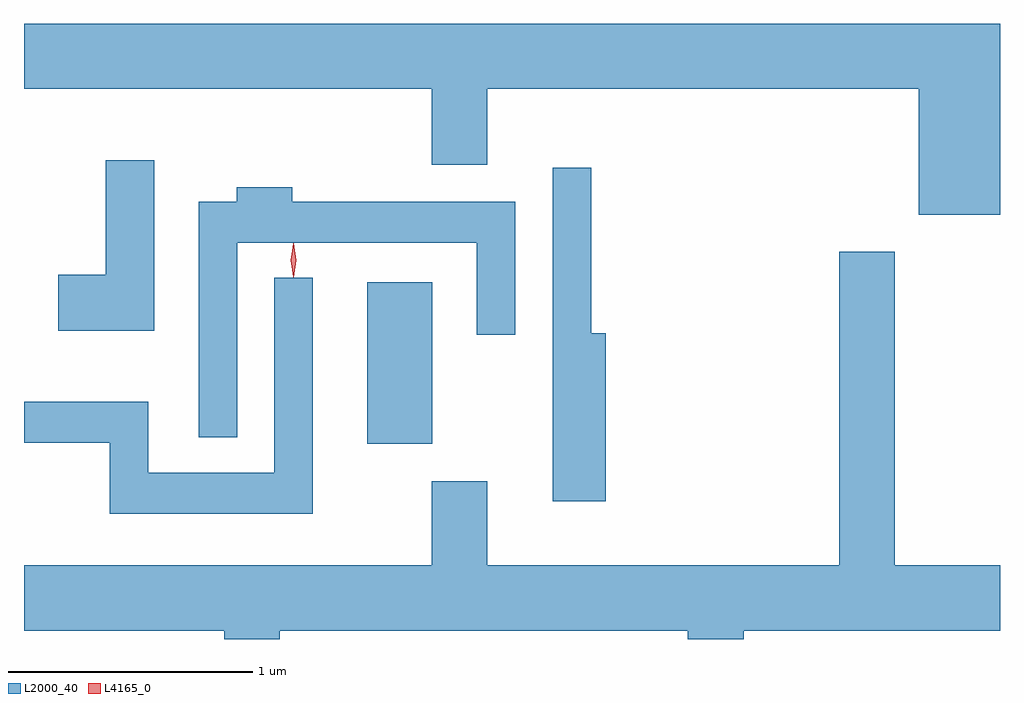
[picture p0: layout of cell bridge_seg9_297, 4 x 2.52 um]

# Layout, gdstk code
import gdstk
lib = gdstk.Library(unit=1e-6, precision=1e-09)
def R(c, l, rs):  # rectangles x0, y0, x1, y1
    for r in rs: c.add(gdstk.rectangle(r[:2], r[2:], *l))
def P(c, l, *ps):  # polygons
    for p in ps: c.add(gdstk.Polygon(p, *l))
L2000_40 = (2000, 40)
L4165_0 = (4165, 0)

bridge_seg9_297 = lib.new_cell('bridge_seg9_297')
R(bridge_seg9_297, L2000_40, [(1018.526,2074.721,1018.794,2075.384)])
P(bridge_seg9_297, L2000_40, [(1021.12,2076.444),(1017.12,2076.444),(1017.12,2076.176),(1018.791,2076.176),(1018.791,2075.866),(1019.019,2075.866),(1019.019,2076.176),(1020.786,2076.176),(1020.786,2075.661),(1021.12,2075.661)],
  [(1017.654,2075.884),(1017.456,2075.884),(1017.456,2075.414),(1017.261,2075.414),(1017.261,2075.186),(1017.654,2075.186)],
  [(1019.504,2075.174),(1019.444,2075.174),(1019.444,2075.853),(1019.286,2075.853),(1019.286,2074.486),(1019.504,2074.486)],
  [(1017.994,2075.546),(1018.976,2075.546),(1018.976,2075.168),(1019.134,2075.168),(1019.134,2075.714),(1018.219,2075.714),(1018.219,2075.774),(1017.991,2075.774),(1017.991,2075.714),(1017.836,2075.714),(1017.836,2074.748),(1017.994,2074.748)],
  [(1018.169,2073.956),(1019.841,2073.956),(1019.841,2073.92),(1020.069,2073.92),(1020.069,2073.956),(1021.12,2073.956),(1021.12,2074.224),(1020.689,2074.224),(1020.689,2075.509),(1020.461,2075.509),(1020.461,2074.224),(1019.019,2074.224),(1019.019,2074.569),(1018.791,2074.569),(1018.791,2074.224),(1017.12,2074.224),(1017.12,2073.956),(1017.941,2073.956),(1017.941,2073.92),(1018.169,2073.92)],
  [(1018.304,2075.403),(1018.146,2075.403),(1018.146,2074.604),(1017.629,2074.604),(1017.629,2074.894),(1017.12,2074.894),(1017.12,2074.726),(1017.471,2074.726),(1017.471,2074.436),(1018.304,2074.436)])
P(bridge_seg9_297, L4165_0, [(1018.224,2075.404),(1018.215,2075.473),(1018.224,2075.543),(1018.225,2075.543),(1018.225,2075.543),(1018.235,2075.473),(1018.225,2075.404),(1018.225,2075.404)],
  [(1018.224,2075.407),(1018.223,2075.408),(1018.214,2075.474),(1018.223,2075.54),(1018.224,2075.541),(1018.224,2075.54),(1018.234,2075.474),(1018.224,2075.408)])

lib.write_gds('bridge_seg9_297.gds')
